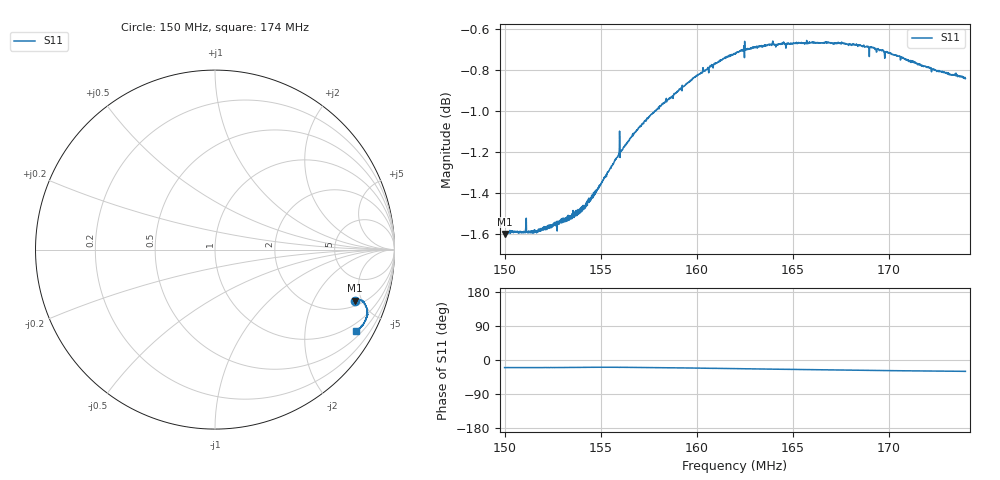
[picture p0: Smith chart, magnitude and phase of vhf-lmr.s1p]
! Calibrated averaged scanner-service zoom
# Hz S RI R 50
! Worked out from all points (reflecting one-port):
!   2001 points, 150 MHz to 174 MHz, reference 50 ohm
!   lowest |S11| = -1.6 dB at 150 MHz (marker M1), VSWR 10.91, Z = 119 - j221 ohm
!   phase of S11 starts at -20 deg and turns -10 deg over the sweep
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1.5e8  0.7822 -0.2846
1.50024e8  0.7817 -0.2851
1.5102e8  0.7819 -0.2878
1.51548e8  0.7819 -0.2878
1.53e8  0.7885 -0.2847
1.53912e8  0.7933 -0.2811
1.5426e8  0.7975 -0.2798
1.54824e8  0.8056 -0.2803
1.55508e8  0.8154 -0.2831
1.56e8  0.8257 -0.2935
1.56132e8  0.8231 -0.2884
1.56648e8  0.8287 -0.2933
1.5738e8  0.8334 -0.3019
1.59e8  0.8423 -0.3191
1.60308e8  0.8472 -0.3345
1.60608e8  0.8479 -0.3373
1.614e8  0.8491 -0.3482
1.62e8  0.8487 -0.3556
1.62384e8  0.8486 -0.3606
1.63872e8  0.8445 -0.3778
1.65e8  0.8401 -0.3888
1.66752e8  0.8328 -0.4048
1.68e8  0.8262 -0.416
1.6914e8  0.8195 -0.426
1.70028e8  0.8128 -0.4326
1.71e8  0.8056 -0.4382
1.72356e8  0.7966 -0.4448
1.74e8  0.7863 -0.4532
